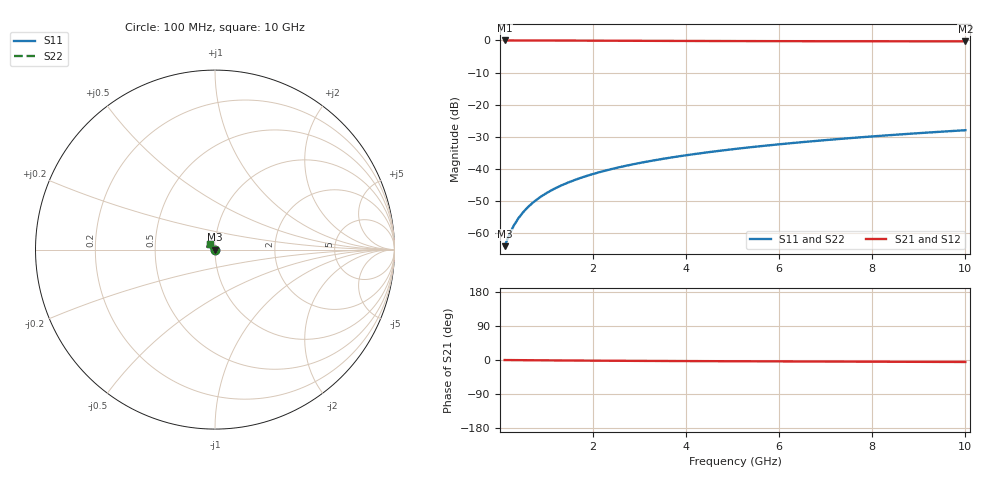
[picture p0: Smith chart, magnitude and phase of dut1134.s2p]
! Touchstone file exported from HFSS 2024.1.0
!  File:  C:/UserFiles/LocalFiles/RDL_TSV_Batchsim/temp_TSV1_1134_1780070312.aedt
!  Generated:  12:08:54 AM May 30, 2026
!  Design:  TSV1
!  Project:  temp_TSV1_1134_1780070312
!  Setup:  Setup1
!  Solution:  Sweep
! Variables:
!  dtsv = 5.23um
!  hbump = 3um
!  htsv = 73.16um
!  lrdl = 252.1521522um
!  p = 40
!  p1 = 55.59um
!  t = 500um
!  trdl = 3um
!  wrdl = 24.89489489um
# GHz S MA R 50.000000
! Terminal data exported
! Port[1] = TSV22_T1
! Port[2] = TSV22_T2
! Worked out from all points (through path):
!   100 points, 100 MHz to 10 GHz, reference 50 ohm
!   highest |S21| = 0.00 dB at 100 MHz (marker M1); lowest = -0.3 dB at 10 GHz (marker M2)
!   lowest |S11| = -64.0 dB at 100 MHz (marker M3), VSWR 1.00, Z = 50 - j0.0438 ohm
!   |S11| at or under -10 dB: start of sweep to end of sweep
!   |S22| runs from -64.0 to -27.9 dB; largest |S21 - S12| = 2.3e-15
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0.1  0.0006327 -43.8  0.9995 -0.1  0.9995 -0.1  0.0006327 -43.8
! Gamma 0 0 0 0
! Port Impedance 50 0 50 0
0.2  0.0009558 -66.1  0.9994 -0.2  0.9994 -0.2  0.0009558 -66.1
0.3  0.001334 -78.1  0.9993 -0.3  0.9993 -0.3  0.001334 -78.1
0.4  0.001733 -86.0  0.9991 -0.4  0.9991 -0.4  0.001733 -86.0
0.5  0.002142 -92.0  0.9989 -0.5  0.9989 -0.5  0.002142 -92.0
0.6  0.002557 -96.9  0.9987 -0.6  0.9987 -0.6  0.002557 -96.9
0.7  0.002975 -101.2  0.9984 -0.7  0.9984 -0.7  0.002975 -101.2
0.9  0.003813 -108.7  0.9977 -0.8  0.9977 -0.8  0.003813 -108.7
1  0.004233 -112.1  0.9974 -0.9  0.9974 -0.9  0.004233 -112.1
1.2  0.00507 -118.4  0.9965 -1.1  0.9965 -1.1  0.00507 -118.4
1.5  0.006319 -127.1  0.9951 -1.3  0.9951 -1.3  0.006319 -127.1
1.8  0.007559 -135.1  0.9935 -1.6  0.9935 -1.6  0.007559 -135.1
2.1  0.008788 -142.6  0.9919 -1.8  0.9919 -1.8  0.008788 -142.6
2.5  0.01041 -151.7  0.9896 -2.0  0.9896 -2.0  0.01041 -151.7
2.9  0.01202 -160.0  0.9874 -2.3  0.9874 -2.3  0.01202 -160.0
3.4  0.01402 -169.2  0.9847 -2.6  0.9847 -2.6  0.01402 -169.2
4.2  0.01718 178.1  0.981 -2.9  0.981 -2.9  0.01718 178.1
5.1  0.02073 166.5  0.9775 -3.3  0.9775 -3.3  0.02073 166.5
5.9  0.02388 158.1  0.975 -3.6  0.975 -3.6  0.02388 158.1
6.7  0.02703 151.0  0.9729 -4.0  0.9729 -4.0  0.02703 151.0
8.4  0.03378 139.3  0.9697 -4.6  0.9697 -4.6  0.03378 139.3
10  0.0402 131.2  0.9674 -5.3  0.9674 -5.3  0.0402 131.2
